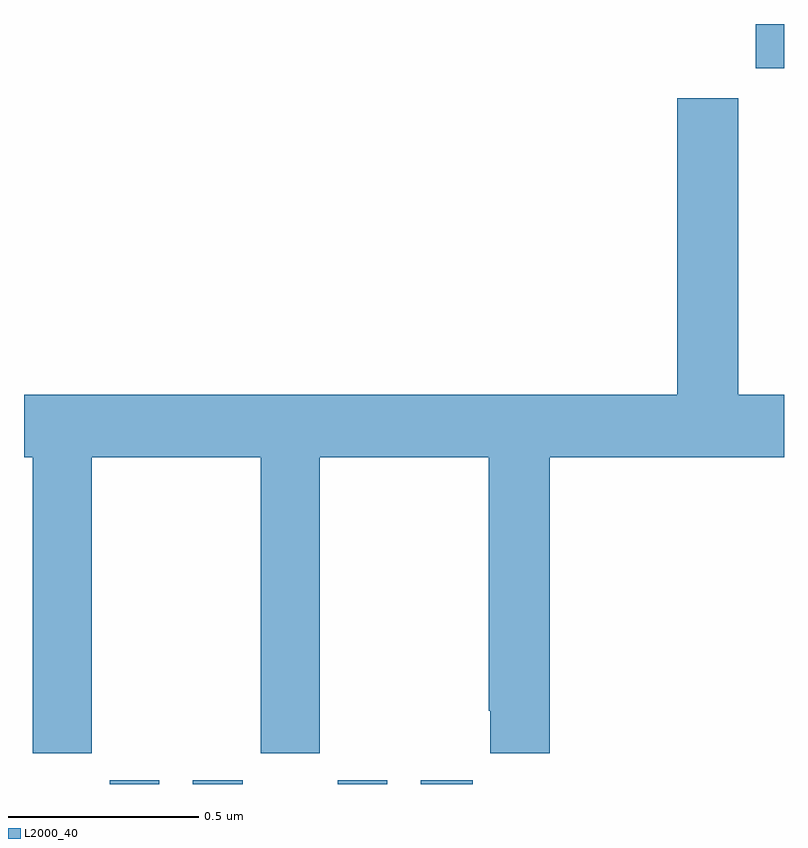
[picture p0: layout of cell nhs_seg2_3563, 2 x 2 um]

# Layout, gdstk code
import gdstk
lib = gdstk.Library(unit=1e-6, precision=1e-09)
def R(c, l, rs):  # rectangles x0, y0, x1, y1
    for r in rs: c.add(gdstk.rectangle(r[:2], r[2:], *l))
def P(c, l, *ps):  # polygons
    for p in ps: c.add(gdstk.Polygon(p, *l))
L2000_40 = (2000, 40)

nhs_seg2_3563 = lib.new_cell('nhs_seg2_3563')
R(nhs_seg2_3563, L2000_40, [(155.225,622.8,155.356,622.81), (155.444,622.8,155.575,622.81), (155.825,622.8,155.956,622.81), (156.044,622.8,156.181,622.81), (156.926,624.683,157,624.8)])
P(nhs_seg2_3563, L2000_40, [(155.178,623.66),(155.623,623.66),(155.623,622.881),(155.778,622.881),(155.778,623.66),(156.223,623.66),(156.223,622.993),(156.227,622.993),(156.227,622.881),(156.383,622.881),(156.383,623.66),(157,623.66),(157,623.824),(156.879,623.824),(156.879,624.604),(156.719,624.604),(156.719,623.824),(155,623.824),(155,623.66),(155.023,623.66),(155.023,622.881),(155.178,622.881)])

lib.write_gds('nhs_seg2_3563.gds')
